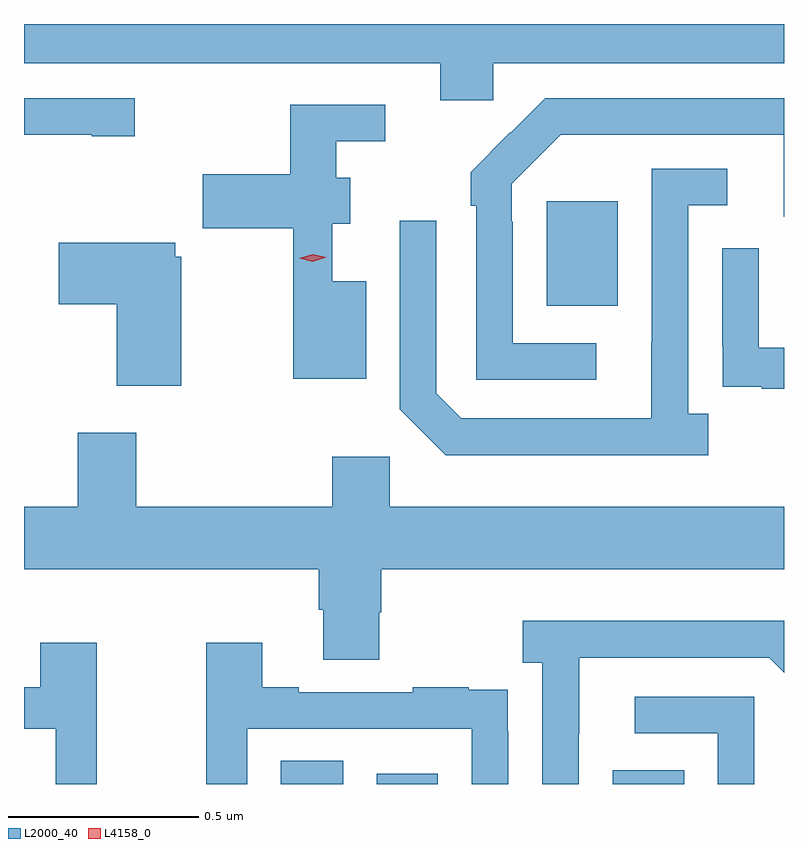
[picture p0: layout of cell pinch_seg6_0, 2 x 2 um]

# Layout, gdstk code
import gdstk
lib = gdstk.Library(unit=1e-6, precision=1e-09)
def R(c, l, rs):  # rectangles x0, y0, x1, y1
    for r in rs: c.add(gdstk.rectangle(r[:2], r[2:], *l))
def P(c, l, *ps):  # polygons
    for p in ps: c.add(gdstk.Polygon(p, *l))
L2000_40 = (2000, 40)
L4158_0 = (4158, 0)

pinch_seg6_0 = lib.new_cell('pinch_seg6_0')
R(pinch_seg6_0, L2000_40, [(1067.084,982.735,1067.248,982.796), (1067.336,982.735,1067.497,982.762), (1067.957,982.735,1068.145,982.771), (1067.783,983.993,1067.971,984.268)])
P(pinch_seg6_0, L2000_40, [(1067.643,984.632),(1068.408,984.632),(1068.408,984.735),(1066.408,984.735),(1066.408,984.632),(1067.504,984.632),(1067.504,984.534),(1067.643,984.534)],
  [(1066.699,984.54),(1066.408,984.54),(1066.408,984.444),(1066.586,984.444),(1066.586,984.439),(1066.699,984.439)],
  [(1067.914,983.895),(1067.694,983.895),(1067.694,984.215),(1067.691,984.215),(1067.691,984.315),(1067.82,984.444),(1068.407,984.444),(1068.407,984.228),(1068.408,984.228),(1068.408,984.54),(1067.78,984.54),(1067.689,984.449),(1067.688,984.45),(1067.583,984.345),(1067.583,984.257),(1067.598,984.257),(1067.598,983.799),(1067.914,983.799)],
  [(1067.308,984.058),(1067.219,984.058),(1067.219,984.209),(1067.266,984.209),(1067.266,984.331),(1067.23,984.331),(1067.23,984.426),(1067.359,984.426),(1067.359,984.522),(1067.109,984.522),(1067.109,984.339),(1066.878,984.339),(1066.878,984.198),(1067.116,984.198),(1067.116,983.801),(1067.308,983.801)],
  [(1068.208,983.71),(1068.156,983.71),(1068.156,984.258),(1068.259,984.258),(1068.259,984.354),(1068.06,984.354),(1068.06,983.897),(1068.059,983.897),(1068.059,983.697),(1067.559,983.697),(1067.493,983.763),(1067.493,984.217),(1067.397,984.217),(1067.397,983.721),(1067.518,983.6),(1068.208,983.6)],
  [(1066.822,984.123),(1066.806,984.123),(1066.806,984.159),(1066.5,984.159),(1066.5,983.998),(1066.652,983.998),(1066.652,983.783),(1066.822,983.783)],
  [(1068.408,983.883),(1068.342,983.883),(1068.342,984.145),(1068.246,984.145),(1068.246,983.89),(1068.247,983.89),(1068.247,983.781),(1068.349,983.781),(1068.349,983.775),(1068.408,983.775)],
  [(1067.343,983.187),(1067.348,983.187),(1067.348,983.3),(1068.408,983.3),(1068.408,983.464),(1067.37,983.464),(1067.37,983.596),(1067.219,983.596),(1067.219,983.464),(1066.703,983.464),(1066.703,983.659),(1066.55,983.659),(1066.55,983.464),(1066.408,983.464),(1066.408,983.3),(1067.183,983.3),(1067.183,983.194),(1067.195,983.194),(1067.195,983.062),(1067.343,983.062)],
  [(1067.868,982.867),(1067.869,982.867),(1067.869,983.067),(1068.369,983.067),(1068.408,983.028),(1068.408,983.164),(1067.721,983.164),(1067.721,983.054),(1067.772,983.054),(1067.772,982.735),(1067.868,982.735)],
  [(1066.6,983.107),(1066.451,983.107),(1066.451,982.99),(1066.408,982.99),(1066.408,982.881),(1066.491,982.881),(1066.491,982.735),(1066.6,982.735)],
  [(1066.995,982.881),(1067.586,982.881),(1067.586,982.735),(1067.682,982.735),(1067.682,982.874),(1067.681,982.874),(1067.681,982.983),(1067.579,982.983),(1067.579,982.99),(1067.431,982.99),(1067.431,982.977),(1067.131,982.977),(1067.131,982.99),(1067.035,982.99),(1067.035,983.107),(1066.887,983.107),(1066.887,982.735),(1066.995,982.735)],
  [(1068.33,982.965),(1068.015,982.965),(1068.015,982.869),(1068.234,982.869),(1068.234,982.735),(1068.33,982.735)])
P(pinch_seg6_0, L4158_0, [(1067.168,984.109),(1067.132,984.118),(1067.132,984.118),(1067.132,984.118),(1067.168,984.129),(1067.204,984.121),(1067.204,984.121),(1067.204,984.121)])

lib.write_gds('pinch_seg6_0.gds')
